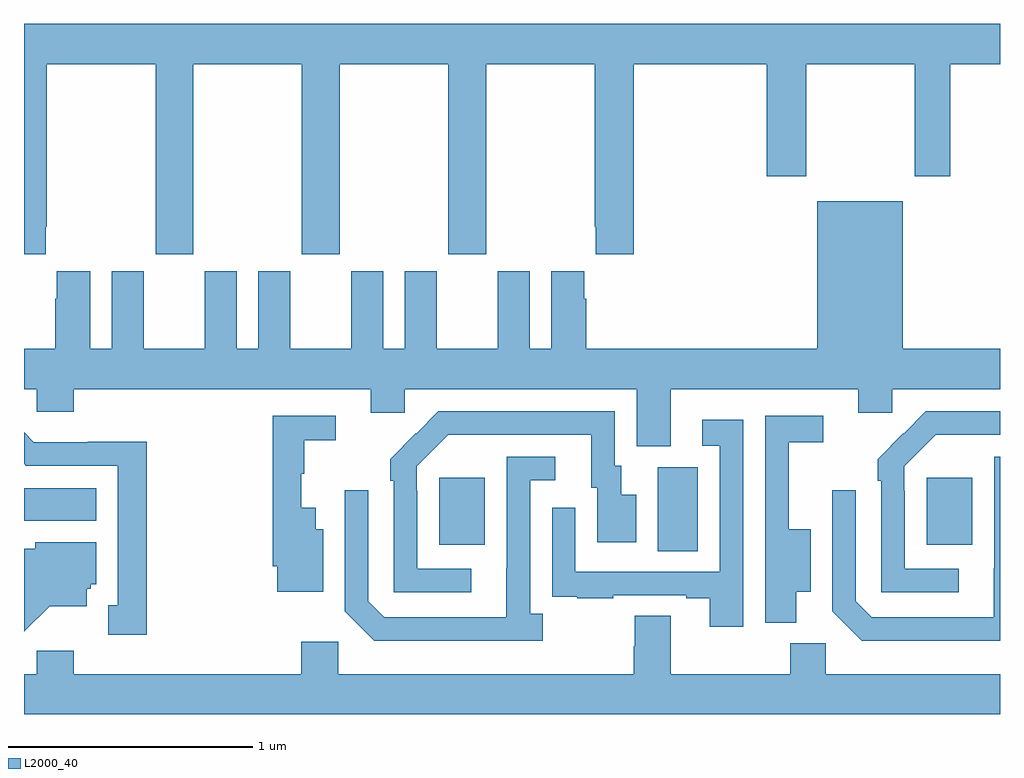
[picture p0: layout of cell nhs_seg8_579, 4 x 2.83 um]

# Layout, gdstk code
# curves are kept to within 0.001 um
import gdstk
lib = gdstk.Library(unit=1e-6, precision=1e-09)
def R(c, l, rs):  # rectangles x0, y0, x1, y1
    for r in rs: c.add(gdstk.rectangle(r[:2], r[2:], *l))
def P(c, l, *ps):  # polygons
    for p in ps: c.add(gdstk.Polygon(p, *l))
L2000_40 = (2000, 40)

nhs_seg8_579 = lib.new_cell('nhs_seg8_579')
R(nhs_seg8_579, L2000_40, [(151.598,1085.2,151.762,1085.544), (150.701,1085.225,150.889,1085.5), (152.699,1085.225,152.887,1085.5), (149,1085.324,149.296,1085.458)])
P(nhs_seg8_579, L2000_40, [(149.089,1086.529),(149.094,1086.529),(149.094,1087.196),(149.539,1087.196),(149.539,1086.417),(149.694,1086.417),(149.694,1087.196),(150.139,1087.196),(150.139,1086.417),(150.294,1086.417),(150.294,1087.196),(150.739,1087.196),(150.739,1086.417),(150.894,1086.417),(150.894,1087.196),(151.339,1087.196),(151.339,1086.529),(151.343,1086.529),(151.343,1086.417),(151.499,1086.417),(151.499,1087.196),(152.045,1087.196),(152.045,1086.735),(152.205,1086.735),(152.205,1087.196),(152.65,1087.196),(152.65,1086.735),(152.797,1086.735),(152.797,1087.196),(153,1087.196),(153,1087.36),(149,1087.36),(149,1086.417),(149.089,1086.417)],
  [(151.651,1085.864),(152.42,1085.864),(152.42,1085.766),(152.559,1085.766),(152.559,1085.864),(153,1085.864),(153,1086.028),(152.602,1086.028),(152.602,1086.634),(152.252,1086.634),(152.252,1086.028),(151.304,1086.028),(151.304,1086.233),(151.297,1086.233),(151.297,1086.346),(151.16,1086.346),(151.16,1086.028),(151.072,1086.028),(151.072,1086.346),(150.941,1086.346),(150.941,1086.028),(150.691,1086.028),(150.691,1086.346),(150.56,1086.346),(150.56,1086.028),(150.472,1086.028),(150.472,1086.346),(150.341,1086.346),(150.341,1086.028),(150.091,1086.028),(150.091,1086.346),(149.96,1086.346),(149.96,1086.028),(149.872,1086.028),(149.872,1086.346),(149.741,1086.346),(149.741,1086.028),(149.491,1086.028),(149.491,1086.346),(149.36,1086.346),(149.36,1086.028),(149.272,1086.028),(149.272,1086.346),(149.135,1086.346),(149.135,1086.233),(149.129,1086.233),(149.129,1086.028),(149,1086.028),(149,1085.864),(149.052,1085.864),(149.052,1085.771),(149.204,1085.771),(149.204,1085.864),(150.422,1085.864),(150.422,1085.766),(150.561,1085.766),(150.561,1085.864),(151.511,1085.864),(151.511,1085.629),(151.651,1085.629)],
  [(152.83,1085.127),(152.61,1085.127),(152.61,1085.447),(152.607,1085.447),(152.607,1085.547),(152.736,1085.676),(153,1085.676),(153,1085.772),(152.696,1085.772),(152.499,1085.577),(152.499,1085.489),(152.514,1085.489),(152.514,1085.031),(152.83,1085.031)],
  [(150.832,1085.127),(150.612,1085.127),(150.612,1085.447),(150.609,1085.447),(150.609,1085.547),(150.738,1085.676),(151.325,1085.676),(151.325,1085.46),(151.349,1085.46),(151.349,1085.235),(151.51,1085.235),(151.51,1085.431),(151.447,1085.431),(151.447,1085.55),(151.422,1085.55),(151.422,1085.772),(150.698,1085.772),(150.501,1085.577),(150.501,1085.489),(150.516,1085.489),(150.516,1085.031),(150.832,1085.031)],
  [(150.226,1085.29),(150.196,1085.29),(150.196,1085.377),(150.137,1085.377),(150.137,1085.517),(150.148,1085.517),(150.148,1085.653),(150.277,1085.653),(150.277,1085.754),(150.019,1085.754),(150.019,1085.137),(150.038,1085.137),(150.038,1085.033),(150.226,1085.033)],
  [(152.164,1085.033),(152.224,1085.033),(152.224,1085.29),(152.135,1085.29),(152.135,1085.646),(152.275,1085.646),(152.275,1085.754),(152.037,1085.754),(152.037,1084.907),(152.164,1084.907)],
  [(151.947,1085.737),(151.779,1085.737),(151.779,1085.631),(151.851,1085.631),(151.851,1085.115),(151.26,1085.115),(151.26,1085.377),(151.164,1085.377),(151.164,1085.122),(151.165,1085.122),(151.165,1085.013),(151.267,1085.013),(151.267,1085.007),(151.415,1085.007),(151.415,1085.019),(151.715,1085.019),(151.715,1085.007),(151.811,1085.007),(151.811,1084.89),(151.947,1084.89)],
  [(149.503,1085.648),(149.262,1085.648),(149.262,1085.646),(149.04,1085.646),(149,1085.686),(149,1085.557),(149.007,1085.55),(149.384,1085.55),(149.384,1084.977),(149.345,1084.977),(149.345,1084.857),(149.503,1084.857)],
  [(153,1085.586),(152.976,1085.586),(152.976,1085.129),(152.975,1085.129),(152.975,1084.929),(152.475,1084.929),(152.409,1084.995),(152.409,1085.449),(152.313,1085.449),(152.313,1084.953),(152.434,1084.832),(153,1084.832)],
  [(151.126,1084.942),(151.074,1084.942),(151.074,1085.49),(151.177,1085.49),(151.177,1085.586),(150.978,1085.586),(150.977,1084.929),(150.477,1084.929),(150.411,1084.995),(150.411,1085.449),(150.315,1085.449),(150.315,1084.953),(150.436,1084.832),(151.126,1084.832)],
  [(149.002,1084.871),(149.105,1084.973),(149.257,1084.973),(149.257,1085.046),(149.274,1085.046),(149.274,1085.064),(149.296,1085.064),(149.296,1085.236),(149.046,1085.236),(149.046,1085.209),(149,1085.209),(149,1084.869)],
  [(153,1084.696),(152.286,1084.696),(152.286,1084.822),(152.14,1084.822),(152.14,1084.696),(151.651,1084.696),(151.651,1084.934),(151.504,1084.934),(151.504,1084.809),(151.499,1084.809),(151.499,1084.696),(150.288,1084.696),(150.288,1084.828),(150.137,1084.828),(150.137,1084.696),(149.204,1084.696),(149.204,1084.792),(149.052,1084.792),(149.052,1084.696),(149,1084.696),(149,1084.532),(153,1084.532)])

lib.write_gds('nhs_seg8_579.gds')
